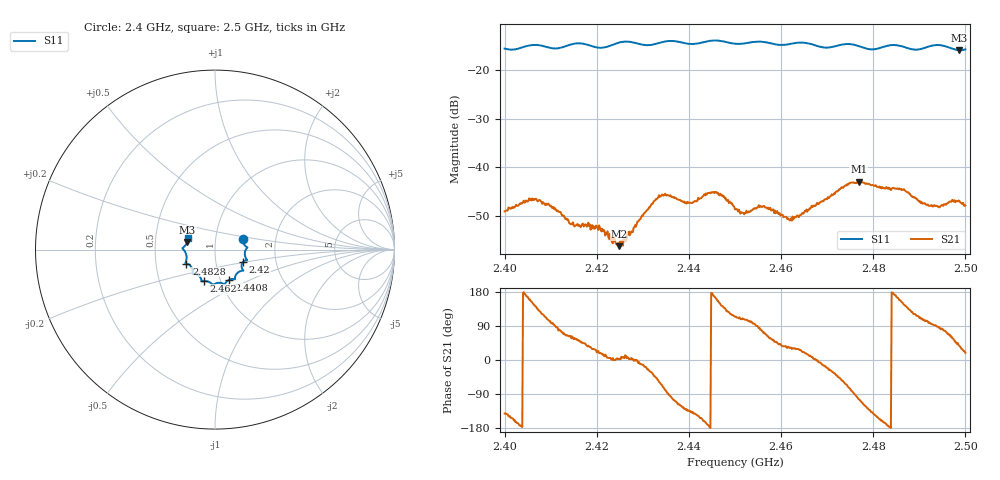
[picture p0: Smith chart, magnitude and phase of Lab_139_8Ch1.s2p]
# Hz S RI R 50
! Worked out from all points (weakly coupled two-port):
!   601 points, 2.4 GHz to 2.5 GHz, reference 50 ohm
!   highest |S21| = -42.93 dB at 2.4768 GHz (marker M1); lowest = -56.2 dB at 2.4248 GHz (marker M2)
!   lowest |S11| = -15.9 dB at 2.4987 GHz (marker M3), VSWR 1.38, Z = 36.5 + j3.23 ohm
!   |S11| at or under -10 dB: start of sweep to end of sweep
!   S12 and S22 are empty: the file has one direction only
!   S11 on the Smith chart (normalised r, x): 2.4 GHz: 1.35, +0.17; 2.42 GHz: 1.36, -0.19; 2.4408 GHz: 1.10, -0.38; 2.462 GHz: 0.83, -0.30; 2.4828 GHz: 0.72, -0.12; 2.5 GHz: 0.73, +0.09
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2.4e9  0.155 0.0614  -0.00274 -0.00221  0 0  0 0
2.4065e9  0.1813 0.0124  -0.00373 0.00275  0 0  0 0
2.411167e9  0.166 -0.0203  0.000238 0.00367  0 0  0 0
2.414667e9  0.1767 -0.055  0.00121 0.00228  0 0  0 0
2.416667e9  0.1787 -0.0587  0.00169 0.00187  0 0  0 0
2.42e9  0.1568 -0.0689  0.00225 0.000832  0 0  0 0
2.424833e9  0.1551 -0.1134  0.00154 8.74e-05  0 0  0 0
2.433333e9  0.1117 -0.1528  0.00289 -0.00393  0 0  0 0
2.440833e9  0.0779 -0.1686  -0.00322 -0.00294  0 0  0 0
2.4455e9  0.053 -0.1948  -0.00532 0.00114  0 0  0 0
2.45e9  0.027 -0.185  -0.00154 0.00335  0 0  0 0
2.451667e9  0.00909 -0.187  -0.00116 0.00321  0 0  0 0
2.456e9  -0.0136 -0.1949  0.000987 0.00381  0 0  0 0
2.462e9  -0.0624 -0.1752  0.00241 0.00153  0 0  0 0
2.466667e9  -0.0761 -0.1682  0.00398 0.000556  0 0  0 0
2.476833e9  -0.1244 -0.1258  -0.00165 -0.00694  0 0  0 0
2.482833e9  -0.1591 -0.0777  -0.00616 -0.00118  0 0  0 0
2.483333e9  -0.1621 -0.0768  -0.00616 -0.000533  0 0  0 0
2.4865e9  -0.1618 -0.0652  -0.00503 0.00304  0 0  0 0
2.4925e9  -0.1776 0.00225  -0.000384 0.004  0 0  0 0
2.498667e9  -0.1545 0.0431  0.00358 0.00277  0 0  0 0
2.5e9  -0.1511 0.0629  0.00384 0.00132  0 0  0 0
